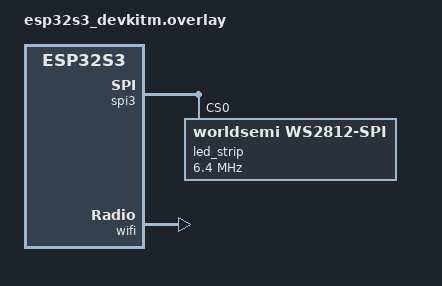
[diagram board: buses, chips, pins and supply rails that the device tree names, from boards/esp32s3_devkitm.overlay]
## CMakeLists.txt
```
# SPDX-License-Identifier: Apache-2.0

cmake_minimum_required(VERSION 3.20.0)

find_package(Zephyr REQUIRED HINTS $ENV{ZEPHYR_BASE})
project(zephyr_esp32_wifi)

include_directories(include)
FILE(GLOB app_sources src/*.c)
message("app_sources: ${app_sources}")
target_sources(app PRIVATE ${app_sources})
```

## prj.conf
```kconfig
# # Increased stack due to settings API usage
# CONFIG_SYSTEM_WORKQUEUE_STACK_SIZE=2048

# CONFIG_LOG=y
# CONFIG_LED_STRIP=y
# CONFIG_LED_STRIP_LOG_LEVEL_DBG=y
# CONFIG_WS2812_STRIP=y

# CONFIG_BT=y
# CONFIG_BT_SMP=y
# CONFIG_BT_PERIPHERAL=y
# CONFIG_BT_DIS=y
# CONFIG_BT_DIS_PNP=n
# CONFIG_BT_BAS=y
# CONFIG_BT_HRS=y
# CONFIG_BT_DEVICE_NAME="Zephyr ESP32S3DEV"
# CONFIG_BT_DEVICE_APPEARANCE=833


# CONFIG_BT_KEYS_OVERWRITE_OLDEST=y
# CONFIG_BT_SETTINGS=y
# CONFIG_BT_FILTER_ACCEPT_LIST=y
# CONFIG_FLASH=y
# CONFIG_FLASH_PAGE_LAYOUT=y
# CONFIG_FLASH_MAP=y
# CONFIG_NVS=y
# CONFIG_SETTINGS=y
# CONFIG_REBOOT=y

# Increased stack due to settings API usage
CONFIG_SYSTEM_WORKQUEUE_STACK_SIZE=2048



CONFIG_FLASH=y
CONFIG_FLASH_PAGE_LAYOUT=y
CONFIG_FLASH_MAP=y
CONFIG_NVS=y
CONFIG_SETTINGS=y
CONFIG_REBOOT=y


CONFIG_EARLY_CONSOLE=y

CONFIG_NETWORKING=y
CONFIG_TEST_RANDOM_GENERATOR=y

CONFIG_NET_TX_STACK_SIZE=2048
CONFIG_NET_RX_STACK_SIZE=2048

CONFIG_NET_PKT_RX_COUNT=10
CONFIG_NET_PKT_TX_COUNT=10
CONFIG_NET_BUF_RX_COUNT=20
CONFIG_NET_BUF_TX_COUNT=20
CONFIG_NET_MAX_CONTEXTS=10
CONFIG_NET_DHCPV4=y

CONFIG_NET_IPV4=y
CONFIG_NET_IPV6=n

CONFIG_NET_TCP=y

CONFIG_NET_LOG=y
CONFIG_INIT_STACKS=y

CONFIG_NET_SHELL=y

CONFIG_NET_STATISTICS=y
CONFIG_NET_STATISTICS_PERIODIC_OUTPUT=n

CONFIG_WIFI=y
CONFIG_WIFI_LOG_LEVEL_ERR=y
CONFIG_NET_L2_WIFI_SHELL=y
```

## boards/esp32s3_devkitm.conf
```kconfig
CONFIG_WS2812_STRIP_SPI=y
CONFIG_SPI=y

CONFIG_WIFI=y

CONFIG_NETWORKING=y
CONFIG_NET_L2_ETHERNET=y

CONFIG_NET_IPV6=n
CONFIG_NET_IPV4=y
CONFIG_NET_DHCPV4=y
CONFIG_ESP32_WIFI_STA_AUTO_DHCPV4=y

CONFIG_NET_LOG=y
```

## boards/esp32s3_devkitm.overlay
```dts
/*
 * Copyright (c) 2022 Espressif Systems (Shanghai) Co., Ltd.
 *
 * SPDX-License-Identifier: Apache-2.0
 */

#include <zephyr/dt-bindings/led/led.h>

&spi3 {
	/* Workaround to support WS2812 driver */
	line-idle-low;

        led_strip: ws2812@0 {
                compatible = "worldsemi,ws2812-spi";

                /* SPI */
                reg = <0>; /* ignored, but necessary for SPI bindings */
                spi-max-frequency = <6400000>;

                /* WS2812 */
                chain-length = <1>; /* arbitrary; change at will */
                spi-cpha;
                spi-one-frame = <0xf0>; /* 11110000: 625 ns high and 625 ns low */
                spi-zero-frame = <0xc0>; /* 11000000: 312.5 ns high and 937.5 ns low */
                color-mapping = <LED_COLOR_ID_GREEN
                                 LED_COLOR_ID_RED
                                 LED_COLOR_ID_BLUE>;
        };
};

&pinctrl {
	spim3_default: spim3_default {
		group2 {
			pinmux = <SPIM3_MOSI_GPIO48>;
		};
	};
};

/ {
        aliases {
                led-strip = &led_strip;
        };
};


&wifi {
	status = "okay";
};
```

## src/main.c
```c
/*
 * Copyright (c) 2017 Linaro Limited
 * Copyright (c) 2018 Intel Corporation
 *
 * SPDX-License-Identifier: Apache-2.0
 */

#include <errno.h>
#include <string.h>

#define LOG_LEVEL 4
#include <zephyr/logging/log.h>
LOG_MODULE_REGISTER(main);


#include <stddef.h>
#include <zephyr/kernel.h>
#include <zephyr/sys/byteorder.h>
#include <zephyr/sys/printk.h>
#include <zephyr/sys/util.h>
#include <zephyr/types.h>
#include <zephyr/settings/settings.h>
#include <zephyr/sys/reboot.h>


#include <zephyr/net/wifi.h>

#include "led_strip.h"


#define DELAY_TIME K_MSEC(1)




int	main(void)
{
	// int	err;
	int	counter;

	led_strip_init();

	counter = 0;

	printk("Starting...\n");
	/* Implement notification. At the moment there is no suitable way
		* of starting delayed work so we do it here
		*/
	while (1)
	{
		counter++;
		if (counter == 50)
		{
			counter = 0;
			
			led_strip_demo();
		}


		

		k_sleep(DELAY_TIME);
	}
	return (0);
}
```

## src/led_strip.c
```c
#include "led_strip.h"
#include <errno.h>
#include <string.h>

#define LOG_LEVEL 4
#include <zephyr/logging/log.h>
LOG_MODULE_REGISTER(led_strip);

#include <errno.h>
#include <stddef.h>
#include <string.h>
#include <zephyr/device.h>
#include <zephyr/drivers/led_strip.h>
#include <zephyr/drivers/spi.h>
#include <zephyr/kernel.h>
#include <zephyr/sys/byteorder.h>
#include <zephyr/sys/printk.h>
#include <zephyr/sys/util.h>
#include <zephyr/types.h>

static const struct led_rgb	colors[] = {
	RGB(0x0f, 0x00, 0x00), /* red */
	RGB(0x00, 0x0f, 0x00), /* green */
	RGB(0x00, 0x00, 0x0f), /* blue */
};

struct led_rgb				pixels[STRIP_NUM_PIXELS];

static const struct device *const strip = DEVICE_DT_GET(STRIP_NODE);

size_t						cursor = 0, color = 0;
int							rc;

int	led_strip_init(void)
{
	if (device_is_ready(strip))
	{
		LOG_INF("Found LED strip device %s", strip->name);
	}
	else
	{
		LOG_ERR("LED strip device %s is not ready", strip->name);
		return (0);
	}
	LOG_INF("Displaying pattern on strip");
	return (1);
}
void	led_strip_demo(void)
{
	memset(&pixels, 0x00, sizeof(pixels));
	memcpy(&pixels[cursor], &colors[color], sizeof(struct led_rgb));
	rc = led_strip_update_rgb(strip, pixels, STRIP_NUM_PIXELS);

	if (rc)
	{
		LOG_ERR("couldn't update strip: %d", rc);
	}

	cursor++;
	if (cursor >= STRIP_NUM_PIXELS)
	{
		cursor = 0;
		color++;
		if (color == ARRAY_SIZE(colors))
		{
			color = 0;
		}
	}
}
```
